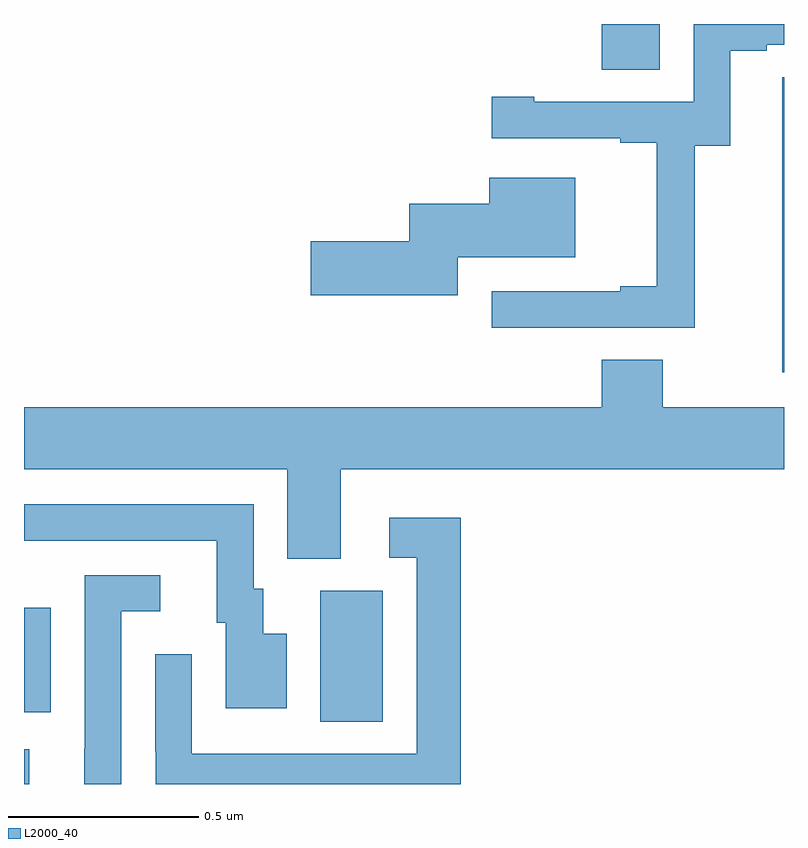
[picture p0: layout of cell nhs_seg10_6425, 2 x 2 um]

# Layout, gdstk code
import gdstk
lib = gdstk.Library(unit=1e-6, precision=1e-09)
def R(c, l, rs):  # rectangles x0, y0, x1, y1
    for r in rs: c.add(gdstk.rectangle(r[:2], r[2:], *l))
def P(c, l, *ps):  # polygons
    for p in ps: c.add(gdstk.Polygon(p, *l))
L2000_40 = (2000, 40)

nhs_seg10_6425 = lib.new_cell('nhs_seg10_6425')
R(nhs_seg10_6425, L2000_40, [(191,1287.5,191.014,1287.591), (191.78,1287.664,191.944,1288.008), (191,1287.689,191.071,1287.964), (192.521,1289.38,192.673,1289.5)])
P(nhs_seg10_6425, L2000_40, [(192.765,1289.179),(192.859,1289.179),(192.859,1289.43),(192.955,1289.43),(192.955,1289.445),(193,1289.445),(193,1289.5),(192.762,1289.5),(192.762,1289.295),(192.343,1289.295),(192.343,1289.308),(192.231,1289.308),(192.231,1289.199),(192.569,1289.199),(192.569,1289.187),(192.665,1289.187),(192.665,1288.81),(192.569,1288.81),(192.569,1288.797),(192.231,1288.797),(192.231,1288.701),(192.765,1288.701)],
  [(193,1289.36),(192.996,1289.36),(192.996,1289.252),(192.995,1289.252),(192.995,1288.584),(193,1288.584)],
  [(192.142,1288.886),(192.451,1288.886),(192.451,1289.095),(192.224,1289.095),(192.224,1289.027),(192.014,1289.027),(192.014,1288.928),(191.754,1288.928),(191.754,1288.786),(192.142,1288.786)],
  [(191.833,1288.328),(193,1288.328),(193,1288.492),(192.681,1288.492),(192.681,1288.616),(192.521,1288.616),(192.521,1288.492),(191,1288.492),(191,1288.328),(191.693,1288.328),(191.693,1288.093),(191.833,1288.093)],
  [(191.692,1287.895),(191.629,1287.895),(191.629,1288.014),(191.604,1288.014),(191.604,1288.236),(191,1288.236),(191,1288.14),(191.507,1288.14),(191.507,1287.924),(191.531,1287.924),(191.531,1287.699),(191.692,1287.699)],
  [(192.149,1288.201),(191.961,1288.201),(191.961,1288.095),(192.033,1288.095),(192.033,1287.579),(191.442,1287.579),(191.442,1287.841),(191.346,1287.841),(191.346,1287.586),(191.347,1287.586),(191.347,1287.5),(192.149,1287.5)],
  [(191.256,1287.954),(191.359,1287.954),(191.359,1288.05),(191.16,1288.05),(191.16,1287.593),(191.159,1287.593),(191.159,1287.5),(191.256,1287.5)])

lib.write_gds('nhs_seg10_6425.gds')
